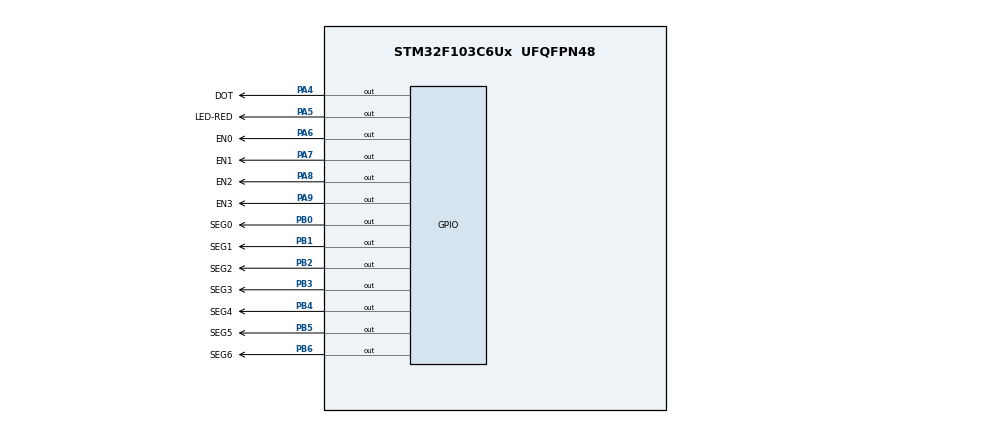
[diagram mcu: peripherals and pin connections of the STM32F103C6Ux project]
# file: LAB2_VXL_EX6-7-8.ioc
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Mcu.Family=STM32F1
Mcu.Name=STM32F103C6Ux
Mcu.Package=UFQFPN48
NVIC.PriorityGroup=NVIC_PRIORITYGROUP_4
NVIC.TIM2_IRQn=true\:0\:0\:false\:false\:true\:true\:true
PA4.GPIO_Label=DOT
PA4.Signal=GPIO_Output
PA5.GPIO_Label=LED-RED
PA5.Signal=GPIO_Output
PA6.GPIO_Label=EN0
PA6.Signal=GPIO_Output
PA7.GPIO_Label=EN1
PA7.Signal=GPIO_Output
PA8.GPIO_Label=EN2
PA8.Signal=GPIO_Output
PA9.GPIO_Label=EN3
PA9.Signal=GPIO_Output
PB0.GPIO_Label=SEG0
PB0.Signal=GPIO_Output
PB1.GPIO_Label=SEG1
PB1.Signal=GPIO_Output
PB2.GPIO_Label=SEG2
PB2.Signal=GPIO_Output
PB3.GPIO_Label=SEG3
PB3.Signal=GPIO_Output
PB4.GPIO_Label=SEG4
PB4.Signal=GPIO_Output
PB5.GPIO_Label=SEG5
PB5.Signal=GPIO_Output
PB6.GPIO_Label=SEG6
PB6.Signal=GPIO_Output
ProjectManager.HeapSize=0x200
ProjectManager.StackSize=0x400
ProjectManager.TargetToolchain=STM32CubeIDE
RCC.APB1Freq_Value=8000000
RCC.APB2Freq_Value=8000000
TIM2.Period=9
TIM2.Prescaler=7999
VP_SYS_VS_ND.Mode=No_Debug
VP_TIM2_VS_ClockSourceINT.Mode=Internal
board=custom

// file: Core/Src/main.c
/* USER CODE BEGIN Header */
/**
  ******************************************************************************
  * @file           : main.c
  * @brief          : Main program body
  ******************************************************************************
  * @attention
  *
  * <h2><center>&copy; Copyright (c) 2025 STMicroelectronics.
  * All rights reserved.</center></h2>
  *
  * This software component is licensed by ST under BSD 3-Clause license,
  * the "License"; You may not use this file except in compliance with the
  * License. You may obtain a copy of the License at:
  *                        opensource.org/licenses/BSD-3-Clause
  *
  ******************************************************************************
  */
/* USER CODE END Header */
#include "main.h"

TIM_HandleTypeDef htim2;

void SystemClock_Config(void);
static void MX_GPIO_Init(void);
static void MX_TIM2_Init(void);

/* USER CODE BEGIN 0 */
int timer0_counter = 0;
int timer0_flag = 0;
int timer1_counter = 0;
int timer1_flag = 1;
const int TIMER_CYCLE = 10;

void setTimer0(int duration) {
    timer0_counter = duration / TIMER_CYCLE;
    timer0_flag = 0;
}
void setTimer1 (int duration){
	timer1_counter = duration/TIMER_CYCLE;
	timer1_flag = 0;
}
void timer_run() {
    if (timer0_counter > 0) {
        timer0_counter--;
        if (timer0_counter == 0) timer0_flag = 1;
    }
    if (timer1_counter > 0){
    	timer1_counter--;
    	if (timer1_counter == 0) timer1_flag = 1;
    	}
}
void display7SEG(int num){
	char led7segm[10]={0xC0, 0xF9, 0xA4, 0xB0, 0x99, 0x92, 0x82, 0xF8, 0x80, 0x90};
	for(int i=0;i<7;i++){
		HAL_GPIO_WritePin(GPIOB, SEG0_Pin<<i,(led7segm[num]>>i)&1);
	}
}
const int MAX_LED = 4;
int index_led = 0;
int led_buffer[4] = {1 , 2 , 3 , 4};
void update7SEG(int index){
	switch (index){
	case 0:
		display7SEG(led_buffer[0]);
		HAL_GPIO_WritePin(EN0_GPIO_Port, EN0_Pin, RESET);
		HAL_GPIO_WritePin(EN1_GPIO_Port, EN1_Pin, SET);
		HAL_GPIO_WritePin(EN2_GPIO_Port, EN2_Pin, SET);
		HAL_GPIO_WritePin(EN3_GPIO_Port, EN3_Pin, SET);
		break;
	case 1:
		display7SEG(led_buffer[1]);
		HAL_GPIO_WritePin(EN0_GPIO_Port, EN0_Pin, SET);
		HAL_GPIO_WritePin(EN1_GPIO_Port, EN1_Pin, RESET);
		HAL_GPIO_WritePin(EN2_GPIO_Port, EN2_Pin, SET);
		HAL_GPIO_WritePin(EN3_GPIO_Port, EN3_Pin, SET);
		break;
	case 2:
		display7SEG(led_buffer[2]);
		HAL_GPIO_WritePin(EN0_GPIO_Port, EN0_Pin, SET);
		HAL_GPIO_WritePin(EN1_GPIO_Port, EN1_Pin, SET);
		HAL_GPIO_WritePin(EN2_GPIO_Port, EN2_Pin, RESET);
		HAL_GPIO_WritePin(EN3_GPIO_Port, EN3_Pin, SET);
		break;
	case 3:
		display7SEG(led_buffer[3]);
		HAL_GPIO_WritePin(EN0_GPIO_Port, EN0_Pin, SET);
		HAL_GPIO_WritePin(EN1_GPIO_Port, EN1_Pin, SET);
		HAL_GPIO_WritePin(EN2_GPIO_Port, EN2_Pin, SET);
		HAL_GPIO_WritePin(EN3_GPIO_Port, EN3_Pin, RESET);
		break;
	default:
		HAL_GPIO_WritePin(EN0_GPIO_Port, EN0_Pin, SET);
		HAL_GPIO_WritePin(EN1_GPIO_Port, EN1_Pin, SET);
		HAL_GPIO_WritePin(EN2_GPIO_Port, EN2_Pin, SET);
		HAL_GPIO_WritePin(EN3_GPIO_Port, EN3_Pin, SET);
		break;
	}
}
void updateClockBuffer(int hour, int minute){
	led_buffer[0] = hour / 10;
	led_buffer[1] = hour % 10;
	led_buffer[2] = minute / 10;
	led_buffer[3] = minute % 10;
}
/* USER CODE END 0 */

int main(void)
{

  /* MCU Configuration--------------------------------------------------------*/

  /* Reset of all peripherals, Initializes the Flash interface and the Systick. */
  HAL_Init();

  /* Configure the system clock */
  SystemClock_Config();

  /* Initialize all configured peripherals */
  MX_GPIO_Init();
  MX_TIM2_Init();
  /* USER CODE BEGIN 2 */
  HAL_TIM_Base_Start_IT (& htim2 ) ;
  /* USER CODE END 2 */

  /* Infinite loop */
  /* USER CODE BEGIN WHILE */
  int hour = 23;
   int minute = 59;
   int second = 55;
   HAL_GPIO_WritePin(DOT_GPIO_Port, DOT_Pin, RESET);

   setTimer0(1000);

   updateClockBuffer(hour, minute);
   /* USER CODE END 2 */

   /* Infinite loop */
   /* USER CODE BEGIN WHILE */
   while (1)
   {
	   //ex7
       if (timer0_flag == 1)
       {
    	   HAL_GPIO_TogglePin(LED_RED_GPIO_Port, LED_RED_Pin);
    	   HAL_GPIO_TogglePin(DOT_GPIO_Port, DOT_Pin);
    	   setTimer0(2000);
    	   second++;

           if (second >= 60) {
               second = 0;
               minute++;
           }
           if (minute >= 60) {
               minute = 0;
               hour++;
           }
           if (hour >= 24) {
               hour = 0;

           }

           updateClockBuffer(hour, minute);
           setTimer0(1000);

       }
       //ex8
       if (timer1_flag == 1){
       	    update7SEG(index_led++);
       	    index_led = (index_led < MAX_LED) ? index_led : 0;
       	    setTimer1(1000/MAX_LED);
       	    	}

   }
  /* USER CODE END 3 */
}

void SystemClock_Config(void)
{
  RCC_OscInitTypeDef RCC_OscInitStruct = {0};
  RCC_ClkInitTypeDef RCC_ClkInitStruct = {0};

  /** Initializes the RCC Oscillators according to the specified parameters
  * in the RCC_OscInitTypeDef structure.
  */
  RCC_OscInitStruct.OscillatorType = RCC_OSCILLATORTYPE_HSI;
  RCC_OscInitStruct.HSIState = RCC_HSI_ON;
  RCC_OscInitStruct.HSICalibrationValue = RCC_HSICALIBRATION_DEFAULT;
  RCC_OscInitStruct.PLL.PLLState = RCC_PLL_NONE;
  if (HAL_RCC_OscConfig(&RCC_OscInitStruct) != HAL_OK)
  {
    Error_Handler();
  }
  /** Initializes the CPU, AHB and APB buses clocks
  */
  RCC_ClkInitStruct.ClockType = RCC_CLOCKTYPE_HCLK|RCC_CLOCKTYPE_SYSCLK
                              |RCC_CLOCKTYPE_PCLK1|RCC_CLOCKTYPE_PCLK2;
  RCC_ClkInitStruct.SYSCLKSource = RCC_SYSCLKSOURCE_HSI;
  RCC_ClkInitStruct.AHBCLKDivider = RCC_SYSCLK_DIV1;
  RCC_ClkInitStruct.APB1CLKDivider = RCC_HCLK_DIV1;
  RCC_ClkInitStruct.APB2CLKDivider = RCC_HCLK_DIV1;

  if (HAL_RCC_ClockConfig(&RCC_ClkInitStruct, FLASH_LATENCY_0) != HAL_OK)
  {
    Error_Handler();
  }
}

static void MX_TIM2_Init(void)
{

  TIM_ClockConfigTypeDef sClockSourceConfig = {0};
  TIM_MasterConfigTypeDef sMasterConfig = {0};

  htim2.Instance = TIM2;
  htim2.Init.Prescaler = 7999;
  htim2.Init.CounterMode = TIM_COUNTERMODE_UP;
  htim2.Init.Period = 9;
  htim2.Init.ClockDivision = TIM_CLOCKDIVISION_DIV1;
  htim2.Init.AutoReloadPreload = TIM_AUTORELOAD_PRELOAD_DISABLE;
  if (HAL_TIM_Base_Init(&htim2) != HAL_OK)
  {
    Error_Handler();
  }
  sClockSourceConfig.ClockSource = TIM_CLOCKSOURCE_INTERNAL;
  if (HAL_TIM_ConfigClockSource(&htim2, &sClockSourceConfig) != HAL_OK)
  {
    Error_Handler();
  }
  sMasterConfig.MasterOutputTrigger = TIM_TRGO_RESET;
  sMasterConfig.MasterSlaveMode = TIM_MASTERSLAVEMODE_DISABLE;
  if (HAL_TIMEx_MasterConfigSynchronization(&htim2, &sMasterConfig) != HAL_OK)
  {
    Error_Handler();
  }

}

static void MX_GPIO_Init(void)
{
  GPIO_InitTypeDef GPIO_InitStruct = {0};

  /* GPIO Ports Clock Enable */
  __HAL_RCC_GPIOA_CLK_ENABLE();
  __HAL_RCC_GPIOB_CLK_ENABLE();

  /*Configure GPIO pin Output Level */
  HAL_GPIO_WritePin(GPIOA, DOT_Pin|LED_RED_Pin|EN0_Pin|EN1_Pin
                          |EN2_Pin|EN3_Pin, GPIO_PIN_SET);

  /*Configure GPIO pin Output Level */
  HAL_GPIO_WritePin(GPIOB, SEG0_Pin|SEG1_Pin|SEG2_Pin|SEG3_Pin
                          |SEG4_Pin|SEG5_Pin|SEG6_Pin, GPIO_PIN_SET);

  /*Configure GPIO pins : DOT_Pin LED_RED_Pin EN0_Pin EN1_Pin
                           EN2_Pin EN3_Pin */
  GPIO_InitStruct.Pin = DOT_Pin|LED_RED_Pin|EN0_Pin|EN1_Pin
                          |EN2_Pin|EN3_Pin;
  GPIO_InitStruct.Mode = GPIO_MODE_OUTPUT_PP;
  GPIO_InitStruct.Pull = GPIO_NOPULL;
  GPIO_InitStruct.Speed = GPIO_SPEED_FREQ_LOW;
  HAL_GPIO_Init(GPIOA, &GPIO_InitStruct);

  /*Configure GPIO pins : SEG0_Pin SEG1_Pin SEG2_Pin SEG3_Pin
                           SEG4_Pin SEG5_Pin SEG6_Pin */
  GPIO_InitStruct.Pin = SEG0_Pin|SEG1_Pin|SEG2_Pin|SEG3_Pin
                          |SEG4_Pin|SEG5_Pin|SEG6_Pin;
  GPIO_InitStruct.Mode = GPIO_MODE_OUTPUT_PP;
  GPIO_InitStruct.Pull = GPIO_NOPULL;
  GPIO_InitStruct.Speed = GPIO_SPEED_FREQ_LOW;
  HAL_GPIO_Init(GPIOB, &GPIO_InitStruct);

}

/* USER CODE BEGIN 4 */

void HAL_TIM_PeriodElapsedCallback(TIM_HandleTypeDef *htim){
	 timer_run();

}

//EX5

/* USER CODE END 4 */

void Error_Handler(void)
{
  __disable_irq();
  while (1)
  {
  }
}

/************************ (C) COPYRIGHT STMicroelectronics *****END OF FILE****/
